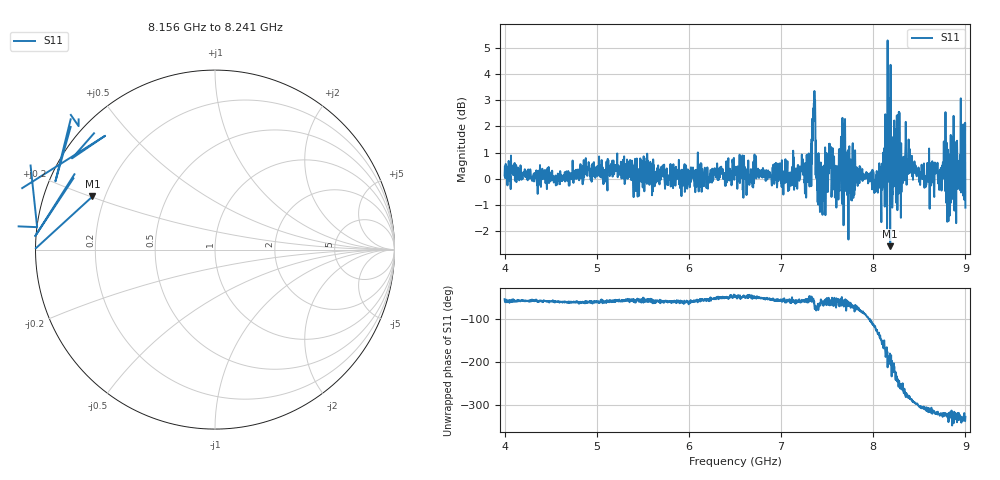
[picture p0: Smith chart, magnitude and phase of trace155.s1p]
! Created with skrf 1.8.0 (http://scikit-rf.org).
# Hz S RI R 50.0
!freq ReS11 ImS11
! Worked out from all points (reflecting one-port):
!   1601 points, 4 GHz to 9 GHz, reference 50 ohm
!   lowest |S11| = -2.6 dB at 8.184 GHz (marker M1), VSWR 6.82, Z = 7.65 + j10.1 ohm
!   phase of S11 starts at -54 deg and turns -274 deg over the sweep
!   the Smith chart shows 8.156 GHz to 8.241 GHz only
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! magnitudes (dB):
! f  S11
! 4 GHz  0.1
! 4.625 GHz  -0.1
! 5.25 GHz  0.2
! 5.875 GHz  0.3
! 6.5 GHz  0.4
! 7.125 GHz  0.2
! 7.297 GHz  0.0
! 7.356 GHz  2.9
! 7.369 GHz  3.0
! 7.4 GHz  0.1
! 7.425 GHz  -0.1
! 7.512 GHz  0.6
! 7.609 GHz  0.4
! 7.669 GHz  1.4
! 7.75 GHz  -0.5
! 8.038 GHz  0.3
! 8.1 GHz  0.6
! 8.153 GHz  0.1
! 8.184 GHz  -2.6
! 8.222 GHz  -0.3
! 8.262 GHz  -1.2
! 8.316 GHz  0.6
! 8.375 GHz  0.7
! 8.556 GHz  -0.3
! 8.775 GHz  1.2
! 8.812 GHz  1.1
! 8.972 GHz  0.4
! 9 GHz  -1.1
